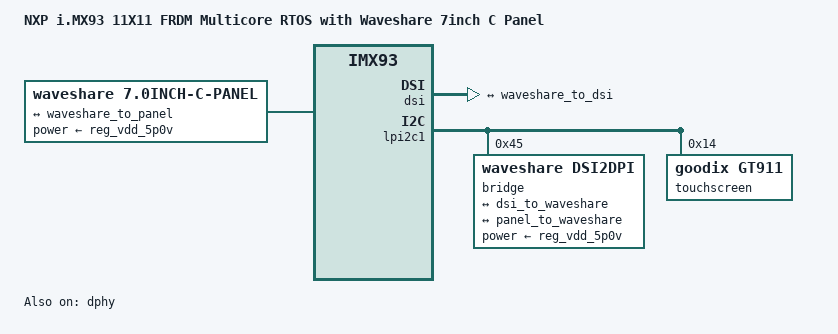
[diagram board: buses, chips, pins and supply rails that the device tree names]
// SPDX-License-Identifier: (GPL-2.0 OR MIT)
/*
 * Copyright 2023-2025 NXP
 */

/dts-v1/;

#include "imx93-11x11-frdm.dts"
#include "imx93-rproc-ca55.dtsi"
#include <dt-bindings/clock/imx93-clock.h>

/ {
	model = "NXP i.MX93 11X11 FRDM Multicore RTOS with Waveshare 7inch C Panel";
	compatible = "fsl,imx93-11x11-frdm", "fsl,imx93";

	reserved-memory {
		#address-cells = <2>;
		#size-cells = <2>;
		ranges;

		/*
		 * Reserve up to 16MB for one possible FreeRTOS instance running on
		 * one Cortex-A core when Linux is booting on at least one Cortex-A core.
		 */
		rtos_ca55_reserved: rtos-ca55@d0000000 {
			no-map;
			reg = <0 0xd0000000 0x0 0x1000000>;
		};

		/* Reserve 16MB for FreeRTOS on M33 */
		m33_reserved: m33@a5000000 {
			no-map;
			reg = <0 0xa5000000 0x0 0x1000000>;
		};

	};

	panel {
		compatible = "waveshare,7.0inch-c-panel", "panel-dpi";
		power-supply = <&reg_vdd_5p0v>;

		port {
			panel_to_waveshare: endpoint {
				remote-endpoint = <&waveshare_to_panel>;
			};
		};

		panel-timing {
			clock-frequency = <50000000>;
			hactive = <1024>;
			vactive = <600>;
			hfront-porch = <100>;
			hback-porch = <100>;
			hsync-len = <100>;
			vback-porch = <10>;
			vfront-porch = <10>;
			vsync-len = <10>;

			hsync-active = <0>;
			vsync-active = <0>;
			de-active = <1>;
			pixelclk-active = <1>;
		};
	};
};

&lpuart2 {
	status = "disabled";
};

&clk {
	init-on-array = <IMX93_CLK_LPUART2_GATE>;
};

&lvds_bridge {
	status = "disabled";
};

&ldb {
	status = "disabled";
};

&ldb_phy {
	status = "disabled";
};

&tpm3 {
	status = "disabled";
};

&tpm4 {
	status = "disabled";
};

&dphy {
	status = "okay";
};

&dsi {
	status = "okay";

	ports {
		#address-cells = <1>;
		#size-cells = <0>;

		port@1 {
			reg = <1>;

			dsi_to_waveshare: endpoint {
				remote-endpoint = <&waveshare_to_dsi>;
			};
		};
	};
};

&lcdif {
	assigned-clock-rates = <400000000>, <50000000>, <400000000>, <133333333>;
};

&lpi2c1 {
	#address-cells = <1>;
	#size-cells = <0>;

	bridge@45 {
		compatible = "waveshare,dsi2dpi";
		reg = <0x45>;
		power-supply = <&reg_vdd_5p0v>;
		status = "okay";

		ports {
			#address-cells = <1>;
			#size-cells = <0>;

			port@0 {
				reg = <0>;

				waveshare_to_dsi: endpoint {
					data-lanes = <1 2>;
					remote-endpoint = <&dsi_to_waveshare>;
				};
			};

			port@1 {
				reg = <1>;

				waveshare_to_panel: endpoint {
					remote-endpoint = <&panel_to_waveshare>;
				};
			};
		};
	};

	touchscreen@14 {
		compatible = "goodix,gt911";
		reg = <0x14>;
		touchscreen-size-x = <1024>;
		touchscreen-size-y = <600>;
	};
};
